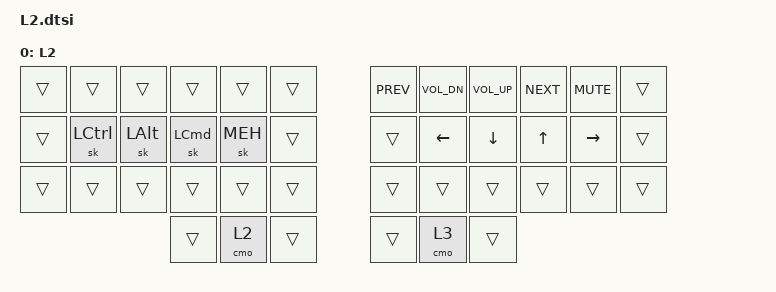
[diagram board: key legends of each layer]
/**
 * Numeric, Navigation and Media Controls Layer
 */

/ {
  keymap {
    compatible = "zmk,keymap";

    layer_2 {
      label = "L2";
      bindings = <
// ╭───────────────┬───────────────┬───────────────┬───────────────┬───────────────┬───────────────╮   ╭───────────────┬───────────────┬───────────────┬───────────────┬───────────────┬───────────────╮
//  0               1               2               3               4               5                   6               7               8               9               10              11
    &trans          &trans          &trans          &trans          &trans          &trans              &kp C_PREV      &kp C_VOL_DN    &kp C_VOL_UP    &kp C_NEXT      &kp C_MUTE      &trans
// ├───────────────├───────────────┼───────────────┼───────────────┼───────────────┼───────────────┤   ├───────────────├───────────────┼───────────────┼───────────────┼───────────────┼───────────────┤
//  12              13              14              15              16              17                  18              19              20              21              22              23
    &trans          &sk LCTRL       &sk LALT        &sk LCMD        &sk MEH         &trans              &trans          &kp LEFT        &kp DOWN        &kp UP          &kp RIGHT       &trans
// ├───────────────├───────────────┼───────────────┼───────────────┼───────────────┼───────────────┤   ├───────────────├───────────────┼───────────────┼───────────────┼───────────────┼───────────────┤
//  24              25              26              27              28              29                  30              31              32              33              34              35
    &trans          &trans          &trans          &trans          &trans          &trans              &trans          &trans          &trans          &trans          &trans          &trans
// ╰───────────────┴───────────────┴───────────────┼───────────────┼───────────────┼───────────────┤   ├───────────────├───────────────┼───────────────┼───────────────┴───────────────┴───────────────╯
//                                                  36              37              38                  39              40              41
                                                    &trans          &cmo L2         &trans              &trans          &cmo L3         &trans
//                                                 ╰───────────────┴───────────────┴───────────────╯   ╰───────────────┴───────────────┴───────────────╯
      >;
    };
  };
};
